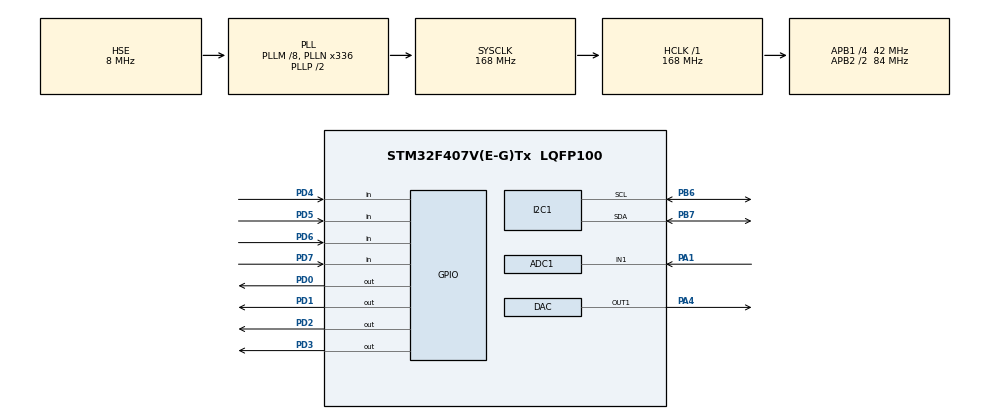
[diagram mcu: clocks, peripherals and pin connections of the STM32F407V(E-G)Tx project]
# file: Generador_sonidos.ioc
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ADC1.Channel-0\#ChannelRegularConversion=ADC_CHANNEL_1
ADC1.Channel-1\#ChannelInjectedConversion=ADC_CHANNEL_1
ADC1.InjNumberOfConversion=1
ADC1.InjectedOffset-1\#ChannelInjectedConversion=0
ADC1.InjectedRank-1\#ChannelInjectedConversion=1
ADC1.NbrOfConversionFlag=1
ADC1.Rank-0\#ChannelRegularConversion=1
ADC1.SamplingTime-0\#ChannelRegularConversion=ADC_SAMPLETIME_3CYCLES
ADC1.SamplingTime-1\#ChannelInjectedConversion=ADC_SAMPLETIME_3CYCLES
ADC1.master=1
DAC.DAC_Trigger=DAC_TRIGGER_T6_TRGO
Dma.DAC1.0.Direction=DMA_MEMORY_TO_PERIPH
Dma.DAC1.0.FIFOMode=DMA_FIFOMODE_DISABLE
Dma.DAC1.0.Instance=DMA1_Stream5
Dma.DAC1.0.MemDataAlignment=DMA_MDATAALIGN_HALFWORD
Dma.DAC1.0.MemInc=DMA_MINC_ENABLE
Dma.DAC1.0.Mode=DMA_CIRCULAR
Dma.DAC1.0.PeriphDataAlignment=DMA_PDATAALIGN_HALFWORD
Dma.DAC1.0.PeriphInc=DMA_PINC_DISABLE
Dma.DAC1.0.Priority=DMA_PRIORITY_LOW
Dma.Request0=DAC1
FREERTOS.Queues01=keyQueue,16,4,1,Dynamic,NULL,NULL;displayQueue,8,4,1,Dynamic,NULL,NULL
FREERTOS.Tasks01=SynthTask,40,512,StartSynthTask,Default,NULL,Dynamic,NULL,NULL;KeypadTask,24,256,StartKeypadTask,Default,NULL,Dynamic,NULL,NULL;DisplayTask,8,512,StartDisplayTask,Default,NULL,Dynamic,NULL,NULL
FREERTOS.configTOTAL_HEAP_SIZE=32768
FREERTOS.configUSE_NEWLIB_REENTRANT=1
I2C1.I2C_Mode=I2C_Fast
Mcu.Family=STM32F4
Mcu.Name=STM32F407V(E-G)Tx
Mcu.Package=LQFP100
NVIC.DMA1_Stream5_IRQn=true\:5\:0\:true\:false\:true\:true\:false\:true\:true
NVIC.PriorityGroup=NVIC_PRIORITYGROUP_4
NVIC.TIM7_IRQn=true\:15\:0\:false\:false\:true\:false\:false\:true\:true
NVIC.TimeBase=TIM7_IRQn
NVIC.TimeBaseIP=TIM7
PA1.Signal=ADCx_IN1
PA13.Mode=Trace_Asynchronous_SW
PA13.Signal=SYS_JTMS-SWDIO
PA14.Mode=Trace_Asynchronous_SW
PA14.Signal=SYS_JTCK-SWCLK
PA4.Signal=COMP_DAC1_group
PB3.Mode=Trace_Asynchronous_SW
PB3.Signal=SYS_JTDO-SWO
PB6.Mode=I2C
PB6.Signal=I2C1_SCL
PB7.Mode=I2C
PB7.Signal=I2C1_SDA
PD0.PinState=GPIO_PIN_SET
PD0.Signal=GPIO_Output
PD1.PinState=GPIO_PIN_SET
PD1.Signal=GPIO_Output
PD2.PinState=GPIO_PIN_SET
PD2.Signal=GPIO_Output
PD3.PinState=GPIO_PIN_SET
PD3.Signal=GPIO_Output
PD4.GPIO_PuPd=GPIO_PULLUP
PD4.Signal=GPIO_Input
PD5.GPIO_PuPd=GPIO_PULLUP
PD5.Signal=GPIO_Input
PD6.GPIO_PuPd=GPIO_PULLUP
PD6.Signal=GPIO_Input
PD7.GPIO_PuPd=GPIO_PULLUP
PD7.Signal=GPIO_Input
PH0-OSC_IN.Mode=HSE-External-Oscillator
PH0-OSC_IN.Signal=RCC_OSC_IN
PH1-OSC_OUT.Mode=HSE-External-Oscillator
PH1-OSC_OUT.Signal=RCC_OSC_OUT
ProjectManager.HeapSize=0x200
ProjectManager.StackSize=0x400
ProjectManager.TargetToolchain=STM32CubeIDE
RCC.48MHZClocksFreq_Value=84000000
RCC.AHBFreq_Value=168000000
RCC.APB1CLKDivider=RCC_HCLK_DIV4
RCC.APB1Freq_Value=42000000
RCC.APB1TimFreq_Value=84000000
RCC.APB2CLKDivider=RCC_HCLK_DIV2
RCC.APB2Freq_Value=84000000
RCC.APB2TimFreq_Value=168000000
RCC.CortexFreq_Value=168000000
RCC.HCLKFreq_Value=168000000
RCC.HSE_VALUE=8000000
RCC.HSI_VALUE=16000000
RCC.LSE_VALUE=32768
RCC.PLLM=8
RCC.PLLN=336
RCC.PLLSourceVirtual=RCC_PLLSOURCE_HSE
RCC.SYSCLKFreq_VALUE=168000000
RCC.SYSCLKSource=RCC_SYSCLKSOURCE_PLLCLK
RCC.VCOOutputFreq_Value=336000000
SH.ADCx_IN1.0=ADC1_IN1,IN1
SH.COMP_DAC1_group.0=DAC_OUT1,DAC_OUT1
TIM6.Period=2624
TIM6.TIM_MasterOutputTrigger=TIM_TRGO_UPDATE
VP_FREERTOS_VS_CMSIS_V2.Mode=CMSIS_V2
VP_SYS_VS_tim7.Mode=TIM7
VP_TIM6_VS_ClockSourceINT.Mode=Enable_Timer
board=custom

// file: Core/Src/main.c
/* USER CODE BEGIN Header */
/**
  ******************************************************************************
  * @file           : main.c
  * @brief          : Main program body
  ******************************************************************************
  * @attention
  *
  * Copyright (c) 2026 STMicroelectronics.
  * All rights reserved.
  *
  * This software is licensed under terms that can be found in the LICENSE file
  * in the root directory of this software component.
  * If no LICENSE file comes with this software, it is provided AS-IS.
  *
  ******************************************************************************
  */
/* USER CODE END Header */
#include "main.h"
#include "cmsis_os.h"

/* USER CODE BEGIN Includes */
#include <stdlib.h>
#include <stdio.h>         // Para sprintf()
#include "ssd1306.h"       // Librería OLED principal
#include "ssd1306_fonts.h" // Fuentes de texto OLED
/* USER CODE END Includes */

/* USER CODE BEGIN PTD */
typedef struct {
    uint16_t freq;
    uint8_t volume;
} ControlMsg_t;
_Static_assert(sizeof(ControlMsg_t) == 4, "Item Size de las colas debe ser sizeof(ControlMsg_t)");
/* USER CODE END PTD */

ADC_HandleTypeDef hadc1;

DAC_HandleTypeDef hdac;
DMA_HandleTypeDef hdma_dac1;

I2C_HandleTypeDef hi2c1;

TIM_HandleTypeDef htim6;

/* Definitions for SynthTask */
osThreadId_t SynthTaskHandle;
const osThreadAttr_t SynthTask_attributes = {
  .name = "SynthTask",
  .stack_size = 512 * 4,
  .priority = (osPriority_t) osPriorityHigh,
};
/* Definitions for KeypadTask */
osThreadId_t KeypadTaskHandle;
const osThreadAttr_t KeypadTask_attributes = {
  .name = "KeypadTask",
  .stack_size = 256 * 4,
  .priority = (osPriority_t) osPriorityNormal,
};
/* Definitions for DisplayTask */
osThreadId_t DisplayTaskHandle;
const osThreadAttr_t DisplayTask_attributes = {
  .name = "DisplayTask",
  .stack_size = 512 * 4,
  .priority = (osPriority_t) osPriorityLow,
};
/* Definitions for keyQueue */
osMessageQueueId_t keyQueueHandle;
const osMessageQueueAttr_t keyQueue_attributes = {
  .name = "keyQueue"
};
/* Definitions for displayQueue */
osMessageQueueId_t displayQueueHandle;
const osMessageQueueAttr_t displayQueue_attributes = {
  .name = "displayQueue"
};
/* USER CODE BEGIN PV */
#define AUDIO_BUF_SIZE 128
uint16_t audio_buffer[AUDIO_BUF_SIZE];

const uint16_t ROW_PINS[4] = {GPIO_PIN_0, GPIO_PIN_1, GPIO_PIN_2, GPIO_PIN_3};
const uint16_t COL_PINS[4] = {GPIO_PIN_4, GPIO_PIN_5, GPIO_PIN_6, GPIO_PIN_7};

const uint16_t note_frequencies[4][4] = {
    {262, 277, 294, 311}, // Do4 a Re4#
    {330, 349, 370, 392}, // Mi4 a Sol4
    {415, 440, 466, 494}, // Sol4# a Si4
    {523, 554, 587, 622}  // Do5 a Re5#
};

const uint16_t sine_lut[256] = {
    2048, 2098, 2148, 2198, 2248, 2298, 2347, 2396, 2445, 2493, 2541, 2589, 2636, 2682, 2728, 2773,
    2818, 2862, 2905, 2947, 2989, 3030, 3070, 3109, 3147, 3185, 3221, 3257, 3291, 3325, 3358, 3389,
    3419, 3449, 3477, 3504, 3530, 3555, 3578, 3601, 3622, 3642, 3661, 3678, 3695, 3710, 3724, 3736,
    3748, 3758, 3767, 3774, 3780, 3785, 3789, 3791, 3792, 3791, 3789, 3785, 3780, 3774, 3767, 3758,
    3748, 3736, 3724, 3710, 3695, 3678, 3661, 3642, 3622, 3601, 3578, 3555, 3530, 3504, 3477, 3449,
    3419, 3389, 3358, 3325, 3291, 3257, 3221, 3185, 3147, 3109, 3070, 3030, 2989, 2947, 2905, 2862,
    2818, 2773, 2728, 2682, 2636, 2589, 2541, 2493, 2445, 2396, 2347, 2298, 2248, 2198, 2148, 2098,
    2048, 1997, 1947, 1897, 1847, 1797, 1748, 1699, 1650, 1602, 1554, 1506, 1459, 1413, 1367, 1322,
    1277, 1233, 1190, 1148, 1106, 1065, 1025, 986, 948, 910, 874, 838, 804, 770, 737, 706,
    676, 646, 618, 591, 565, 540, 517, 494, 473, 453, 434, 417, 400, 385, 371, 359,
    347, 337, 328, 321, 315, 310, 306, 304, 303, 304, 306, 310, 315, 321, 328, 337,
    347, 359, 371, 385, 400, 417, 434, 453, 473, 494, 517, 540, 565, 591, 618, 646,
    676, 706, 737, 770, 804, 838, 874, 910, 948, 986, 1025, 1065, 1106, 1148, 1190, 1233,
    1277, 1322, 1367, 1413, 1459, 1506, 1554, 1602, 1650, 1699, 1748, 1797, 1847, 1897, 1947, 1997
};
/* USER CODE END PV */

void SystemClock_Config(void);
static void MX_GPIO_Init(void);
static void MX_DMA_Init(void);
static void MX_ADC1_Init(void);
static void MX_DAC_Init(void);
static void MX_TIM6_Init(void);
static void MX_I2C1_Init(void);
void StartSynthTask(void *argument);
void StartKeypadTask(void *argument);
void StartDisplayTask(void *argument);

/* USER CODE BEGIN 0 */
const char* ObtenerNombreNota(uint16_t freq) {
    switch(freq) {
        case 262: return "Do4 "; case 277: return "Do4#";
        case 294: return "Re4 "; case 311: return "Re4#";
        case 330: return "Mi4 "; case 349: return "Fa4 ";
        case 370: return "Fa4#"; case 392: return "Sol4";
        case 415: return "Sol4#"; case 440: return "La4 ";
        case 466: return "La4#"; case 494: return "Si4 ";
        case 523: return "Do5 "; case 554: return "Do5#";
        case 587: return "Re5 "; case 622: return "Re5#";
        default:  return "----";
    }
}
/* USER CODE END 0 */

int main(void)
{

  /* MCU Configuration--------------------------------------------------------*/

  /* Reset of all peripherals, Initializes the Flash interface and the Systick. */
  HAL_Init();

  /* Configure the system clock */
  SystemClock_Config();

  /* Initialize all configured peripherals */
  MX_GPIO_Init();
  MX_DMA_Init();
  MX_ADC1_Init();
  MX_DAC_Init();
  MX_TIM6_Init();
  MX_I2C1_Init();
  /* USER CODE BEGIN 2 */
  // 1. Inicializa el controlador de la pantalla
  ssd1306_Init();

  // 2. Limpia cualquier residuo visual poniendo todo en negro
  ssd1306_Fill(Black);

  // 3. Posiciona el cursor (X, Y) y escribe el texto
  ssd1306_SetCursor(10, 25);
  ssd1306_WriteString("Prueba OLED", Font_11x18, White);

  // 4. Envía la orden física por I2C para que los pixeles enciendan
  ssd1306_UpdateScreen();
  /* USER CODE END 2 */

  /* Init scheduler */
  osKernelInitialize();

  /* Create the queue(s) */
  /* creation of keyQueue */
  keyQueueHandle = osMessageQueueNew (16, 4, &keyQueue_attributes);

  /* creation of displayQueue */
  displayQueueHandle = osMessageQueueNew (8, 4, &displayQueue_attributes);

  /* Create the thread(s) */
  /* creation of SynthTask */
  SynthTaskHandle = osThreadNew(StartSynthTask, NULL, &SynthTask_attributes);

  /* creation of KeypadTask */
  KeypadTaskHandle = osThreadNew(StartKeypadTask, NULL, &KeypadTask_attributes);

  /* creation of DisplayTask */
  DisplayTaskHandle = osThreadNew(StartDisplayTask, NULL, &DisplayTask_attributes);

  /* Start scheduler */
  osKernelStart();

  /* We should never get here as control is now taken by the scheduler */

  /* Infinite loop */
  while (1)
  {

  }
}

void SystemClock_Config(void)
{
  RCC_OscInitTypeDef RCC_OscInitStruct = {0};
  RCC_ClkInitTypeDef RCC_ClkInitStruct = {0};

  /** Configure the main internal regulator output voltage
  */
  __HAL_RCC_PWR_CLK_ENABLE();
  __HAL_PWR_VOLTAGESCALING_CONFIG(PWR_REGULATOR_VOLTAGE_SCALE1);

  /** Initializes the RCC Oscillators according to the specified parameters
  * in the RCC_OscInitTypeDef structure.
  */
  RCC_OscInitStruct.OscillatorType = RCC_OSCILLATORTYPE_HSE;
  RCC_OscInitStruct.HSEState = RCC_HSE_ON;
  RCC_OscInitStruct.PLL.PLLState = RCC_PLL_ON;
  RCC_OscInitStruct.PLL.PLLSource = RCC_PLLSOURCE_HSE;
  RCC_OscInitStruct.PLL.PLLM = 8;
  RCC_OscInitStruct.PLL.PLLN = 336;
  RCC_OscInitStruct.PLL.PLLP = RCC_PLLP_DIV2;
  RCC_OscInitStruct.PLL.PLLQ = 4;
  if (HAL_RCC_OscConfig(&RCC_OscInitStruct) != HAL_OK)
  {
    Error_Handler();
  }

  /** Initializes the CPU, AHB and APB buses clocks
  */
  RCC_ClkInitStruct.ClockType = RCC_CLOCKTYPE_HCLK|RCC_CLOCKTYPE_SYSCLK
                              |RCC_CLOCKTYPE_PCLK1|RCC_CLOCKTYPE_PCLK2;
  RCC_ClkInitStruct.SYSCLKSource = RCC_SYSCLKSOURCE_PLLCLK;
  RCC_ClkInitStruct.AHBCLKDivider = RCC_SYSCLK_DIV1;
  RCC_ClkInitStruct.APB1CLKDivider = RCC_HCLK_DIV4;
  RCC_ClkInitStruct.APB2CLKDivider = RCC_HCLK_DIV2;

  if (HAL_RCC_ClockConfig(&RCC_ClkInitStruct, FLASH_LATENCY_5) != HAL_OK)
  {
    Error_Handler();
  }
}

static void MX_ADC1_Init(void)
{

  ADC_ChannelConfTypeDef sConfig = {0};
  ADC_InjectionConfTypeDef sConfigInjected = {0};

  /** Configure the global features of the ADC (Clock, Resolution, Data Alignment and number of conversion)
  */
  hadc1.Instance = ADC1;
  hadc1.Init.ClockPrescaler = ADC_CLOCK_SYNC_PCLK_DIV4;
  hadc1.Init.Resolution = ADC_RESOLUTION_12B;
  hadc1.Init.ScanConvMode = DISABLE;
  hadc1.Init.ContinuousConvMode = DISABLE;
  hadc1.Init.DiscontinuousConvMode = DISABLE;
  hadc1.Init.ExternalTrigConvEdge = ADC_EXTERNALTRIGCONVEDGE_NONE;
  hadc1.Init.ExternalTrigConv = ADC_SOFTWARE_START;
  hadc1.Init.DataAlign = ADC_DATAALIGN_RIGHT;
  hadc1.Init.NbrOfConversion = 1;
  hadc1.Init.DMAContinuousRequests = DISABLE;
  hadc1.Init.EOCSelection = ADC_EOC_SINGLE_CONV;
  if (HAL_ADC_Init(&hadc1) != HAL_OK)
  {
    Error_Handler();
  }

  /** Configure for the selected ADC regular channel its corresponding rank in the sequencer and its sample time.
  */
  sConfig.Channel = ADC_CHANNEL_1;
  sConfig.Rank = 1;
  sConfig.SamplingTime = ADC_SAMPLETIME_3CYCLES;
  if (HAL_ADC_ConfigChannel(&hadc1, &sConfig) != HAL_OK)
  {
    Error_Handler();
  }

  /** Configures for the selected ADC injected channel its corresponding rank in the sequencer and its sample time
  */
  sConfigInjected.InjectedChannel = ADC_CHANNEL_1;
  sConfigInjected.InjectedRank = 1;
  sConfigInjected.InjectedNbrOfConversion = 1;
  sConfigInjected.InjectedSamplingTime = ADC_SAMPLETIME_3CYCLES;
  sConfigInjected.ExternalTrigInjecConvEdge = ADC_EXTERNALTRIGINJECCONVEDGE_NONE;
  sConfigInjected.ExternalTrigInjecConv = ADC_INJECTED_SOFTWARE_START;
  sConfigInjected.AutoInjectedConv = DISABLE;
  sConfigInjected.InjectedDiscontinuousConvMode = DISABLE;
  sConfigInjected.InjectedOffset = 0;
  if (HAL_ADCEx_InjectedConfigChannel(&hadc1, &sConfigInjected) != HAL_OK)
  {
    Error_Handler();
  }

}

static void MX_DAC_Init(void)
{

  DAC_ChannelConfTypeDef sConfig = {0};

  /** DAC Initialization
  */
  hdac.Instance = DAC;
  if (HAL_DAC_Init(&hdac) != HAL_OK)
  {
    Error_Handler();
  }

  /** DAC channel OUT1 config
  */
  sConfig.DAC_Trigger = DAC_TRIGGER_T6_TRGO;
  sConfig.DAC_OutputBuffer = DAC_OUTPUTBUFFER_ENABLE;
  if (HAL_DAC_ConfigChannel(&hdac, &sConfig, DAC_CHANNEL_1) != HAL_OK)
  {
    Error_Handler();
  }

}

static void MX_I2C1_Init(void)
{

  hi2c1.Instance = I2C1;
  hi2c1.Init.ClockSpeed = 400000;
  hi2c1.Init.DutyCycle = I2C_DUTYCYCLE_2;
  hi2c1.Init.OwnAddress1 = 0;
  hi2c1.Init.AddressingMode = I2C_ADDRESSINGMODE_7BIT;
  hi2c1.Init.DualAddressMode = I2C_DUALADDRESS_DISABLE;
  hi2c1.Init.OwnAddress2 = 0;
  hi2c1.Init.GeneralCallMode = I2C_GENERALCALL_DISABLE;
  hi2c1.Init.NoStretchMode = I2C_NOSTRETCH_DISABLE;
  if (HAL_I2C_Init(&hi2c1) != HAL_OK)
  {
    Error_Handler();
  }

}

static void MX_TIM6_Init(void)
{

  TIM_MasterConfigTypeDef sMasterConfig = {0};

  htim6.Instance = TIM6;
  htim6.Init.Prescaler = 0;
  htim6.Init.CounterMode = TIM_COUNTERMODE_UP;
  htim6.Init.Period = 2624;
  htim6.Init.AutoReloadPreload = TIM_AUTORELOAD_PRELOAD_DISABLE;
  if (HAL_TIM_Base_Init(&htim6) != HAL_OK)
  {
    Error_Handler();
  }
  sMasterConfig.MasterOutputTrigger = TIM_TRGO_UPDATE;
  sMasterConfig.MasterSlaveMode = TIM_MASTERSLAVEMODE_DISABLE;
  if (HAL_TIMEx_MasterConfigSynchronization(&htim6, &sMasterConfig) != HAL_OK)
  {
    Error_Handler();
  }

}

static void MX_DMA_Init(void)
{

  /* DMA controller clock enable */
  __HAL_RCC_DMA1_CLK_ENABLE();

  /* DMA interrupt init */
  /* DMA1_Stream5_IRQn interrupt configuration */
  HAL_NVIC_SetPriority(DMA1_Stream5_IRQn, 5, 0);
  HAL_NVIC_EnableIRQ(DMA1_Stream5_IRQn);

}

static void MX_GPIO_Init(void)
{
  GPIO_InitTypeDef GPIO_InitStruct = {0};

  /* GPIO Ports Clock Enable */
  __HAL_RCC_GPIOH_CLK_ENABLE();
  __HAL_RCC_GPIOA_CLK_ENABLE();
  __HAL_RCC_GPIOD_CLK_ENABLE();
  __HAL_RCC_GPIOB_CLK_ENABLE();

  /*Configure GPIO pin Output Level */
  HAL_GPIO_WritePin(GPIOD, GPIO_PIN_0|GPIO_PIN_1|GPIO_PIN_2|GPIO_PIN_3, GPIO_PIN_SET);

  /*Configure GPIO pins : PD0 PD1 PD2 PD3 */
  GPIO_InitStruct.Pin = GPIO_PIN_0|GPIO_PIN_1|GPIO_PIN_2|GPIO_PIN_3;
  GPIO_InitStruct.Mode = GPIO_MODE_OUTPUT_PP;
  GPIO_InitStruct.Pull = GPIO_NOPULL;
  GPIO_InitStruct.Speed = GPIO_SPEED_FREQ_LOW;
  HAL_GPIO_Init(GPIOD, &GPIO_InitStruct);

  /*Configure GPIO pins : PD4 PD5 PD6 PD7 */
  GPIO_InitStruct.Pin = GPIO_PIN_4|GPIO_PIN_5|GPIO_PIN_6|GPIO_PIN_7;
  GPIO_InitStruct.Mode = GPIO_MODE_INPUT;
  GPIO_InitStruct.Pull = GPIO_PULLUP;
  HAL_GPIO_Init(GPIOD, &GPIO_InitStruct);

}

/* USER CODE BEGIN 4 */
void HAL_DAC_ConvHalfCpltCallbackCh1(DAC_HandleTypeDef *hdac) {
    BaseType_t xHigherPriorityTaskWoken = pdFALSE;
    // Envía el valor '1' a SynthTask para decirle que rellene la mitad 1
    xTaskNotifyFromISR(SynthTaskHandle, 1, eSetValueWithOverwrite, &xHigherPriorityTaskWoken);
    portYIELD_FROM_ISR(xHigherPriorityTaskWoken);
}

// Se llama cuando el DMA termina de reproducir la segunda mitad (búfer completo)
void HAL_DAC_ConvCpltCallbackCh1(DAC_HandleTypeDef *hdac) {
    BaseType_t xHigherPriorityTaskWoken = pdFALSE;
    // Envía el valor '2' a SynthTask para decirle que rellene la mitad 2
    xTaskNotifyFromISR(SynthTaskHandle, 2, eSetValueWithOverwrite, &xHigherPriorityTaskWoken);
    portYIELD_FROM_ISR(xHigherPriorityTaskWoken);
}
/* USER CODE END 4 */

void StartSynthTask(void *argument)
{
  /* USER CODE BEGIN 5 */
  /* Infinite loop */
	HAL_TIM_Base_Start(&htim6);
	  HAL_DAC_Start_DMA(&hdac, DAC_CHANNEL_1, (uint32_t*)audio_buffer, AUDIO_BUF_SIZE, DAC_ALIGN_12B_R);

	  uint32_t ulNotifiedValue;
	  ControlMsg_t msg = {0, 50};

	  uint16_t phase_acc = 0; // Acumulador de fase (Avanza por la onda)
	  uint16_t phase_inc = 0; // Incremento de fase (Depende de la frecuencia)
	  uint8_t current_vol = 50;

	  for(;;) {
	      // Bloquear tarea (No usa CPU) hasta que el DMA pida la mitad 1 o la mitad 2 del búfer
	      xTaskNotifyWait(0, 0xFFFFFFFF, &ulNotifiedValue, portMAX_DELAY);

	      // Revisamos rápido (sin bloquear) si KeypadTask envió una nueva nota/volumen
	      if (osMessageQueueGet(keyQueueHandle, &msg, NULL, 0) == osOK) {
	          if (msg.freq > 0) {
	              // Fórmula mágica DDS: Inc = (Frecuencia * TamañoTabla) / FrecuenciaMuestreo
	              // Multiplicamos por 256 extra para usar matemáticas enteras precisas (16 bits)
	              phase_inc = (msg.freq * 65536) / 32000;
	          } else {
	              phase_inc = 0;
	          }
	          current_vol = (msg.volume > 100) ? 100 : msg.volume;
	          // Reenviamos a la pantalla
	          osMessageQueuePut(displayQueueHandle, &msg, 0, 0);
	      }

	      // Elegimos qué mitad del búfer rellenar según lo que avisó el DMA
	      uint16_t *buf_ptr;
	      if (ulNotifiedValue == 1) {       // Half-Complete (La mitad 1 ya se reprodujo, podemos sobreescribirla)
	          buf_ptr = &audio_buffer[0];
	      } else if (ulNotifiedValue == 2) { // Full-Complete (La mitad 2 ya se reprodujo)
	          buf_ptr = &audio_buffer[AUDIO_BUF_SIZE / 2];
	      } else {
	          continue;
	      }

	      // Rellenamos la mitad correspondiente (64 muestras)
	      for (int i = 0; i < (AUDIO_BUF_SIZE / 2); i++) {
	              if (phase_inc > 0) {
	                  int32_t centered = (int32_t)sine_lut[phase_acc >> 8] - 2048;
	                  buf_ptr[i] = (uint16_t)(2048 + (centered * current_vol) / 100);
	                  phase_acc += phase_inc;
	              } else {
	                  buf_ptr[i] = 2048;
	                  phase_acc = 0;
	              }
	          }
	  }
  /* USER CODE END 5 */
}

void StartKeypadTask(void *argument)
{
  /* USER CODE BEGIN StartKeypadTask */
  /* Infinite loop */
	ControlMsg_t msg = {0, 50};
	  uint16_t last_freq = 0;
	  uint8_t last_vol = 50;

	  for(;;) {
	      // 1. Leer Volumen (Potenciómetro)
	      HAL_ADC_Start(&hadc1);
	      HAL_ADC_PollForConversion(&hadc1, 10);
	      uint8_t vol = (HAL_ADC_GetValue(&hadc1) * 100) / 4095; // Escalar a 0-100%
	      HAL_ADC_Stop(&hadc1);

	      // 2. Escanear teclado (Filas en PD0-PD3, Columnas en PD4-PD7)
	      uint16_t freq = 0;
	      for (int r = 0; r < 4; r++) {
	          // Bajamos una fila a LOW (0V)
	          HAL_GPIO_WritePin(GPIOD, ROW_PINS[r], GPIO_PIN_RESET);

	          for (int c = 0; c < 4; c++) {
	              // Gracias al Pull-Up, si leemos LOW, es que el botón conectó la columna a la fila
	              if (HAL_GPIO_ReadPin(GPIOD, COL_PINS[c]) == GPIO_PIN_RESET) {
	                  freq = note_frequencies[r][c];
	                  break;
	              }
	          }
	          // Regresamos la fila a HIGH antes de pasar a la siguiente
	          HAL_GPIO_WritePin(GPIOD, ROW_PINS[r], GPIO_PIN_SET);
	          if (freq != 0) break;
	      }

	      // 3. Enviar a la cola solo si hay cambios audibles (>2% de cambio de vol, o cambio de nota)
	      if (freq != last_freq || abs(vol - last_vol) > 2) {
	          msg.freq = freq;
	          msg.volume = vol;
	          osMessageQueuePut(keyQueueHandle, &msg, 0, 0);
	          last_freq = freq;
	          last_vol = vol;
	      }

	      osDelay(20); // Retardo anti-rebotes
	  }
  /* USER CODE END StartKeypadTask */
}

void StartDisplayTask(void *argument)
{
  /* USER CODE BEGIN StartDisplayTask */
  /* Infinite loop */
	ControlMsg_t dMsg = {0, 0};
	  char buffer_pantalla[32];

	  // Pantalla de bienvenida al encender
	  ssd1306_Fill(Black);
	  ssd1306_SetCursor(10, 25);
	  ssd1306_WriteString("SynthRTOS", Font_11x18, White);
	  ssd1306_UpdateScreen();

	  for(;;) {
	      // Espera (sin gastar CPU) hasta que presionas/sueltas una tecla o mueves el potenciómetro
	      if (osMessageQueueGet(displayQueueHandle, &dMsg, NULL, portMAX_DELAY) == osOK) {

	          ssd1306_Fill(Black); // Limpia el fotograma anterior

	          if (dMsg.freq > 0) {
	              // 1. Mostrar Nota
	              ssd1306_SetCursor(10, 10);
	              ssd1306_WriteString("Nota: ", Font_11x18, White);
	              ssd1306_WriteString((char*)ObtenerNombreNota(dMsg.freq), Font_11x18, White);

	              // 2. Mostrar Frecuencia
	              snprintf(buffer_pantalla, sizeof(buffer_pantalla), "Freq: %d Hz", dMsg.freq);
	              ssd1306_SetCursor(10, 35);
	              ssd1306_WriteString(buffer_pantalla, Font_7x10, White);

	              // 3. Mostrar Volumen
	              snprintf(buffer_pantalla, sizeof(buffer_pantalla), "Vol: %d %%", dMsg.volume);
	              ssd1306_SetCursor(10, 50);
	              ssd1306_WriteString(buffer_pantalla, Font_7x10, White);
	          } else {
	              // Al soltar la tecla
	              ssd1306_SetCursor(20, 25);
	              ssd1306_WriteString("Silencio...", Font_11x18, White);
	          }

	          ssd1306_UpdateScreen(); // Envía los datos físicos por I2C
	      }
	  }
  /* USER CODE END StartDisplayTask */
}

void HAL_TIM_PeriodElapsedCallback(TIM_HandleTypeDef *htim)
{
  if (htim->Instance == TIM7)
  {
    HAL_IncTick();
  }
}

void Error_Handler(void)
{
  __disable_irq();
  while (1)
  {
  }
}
